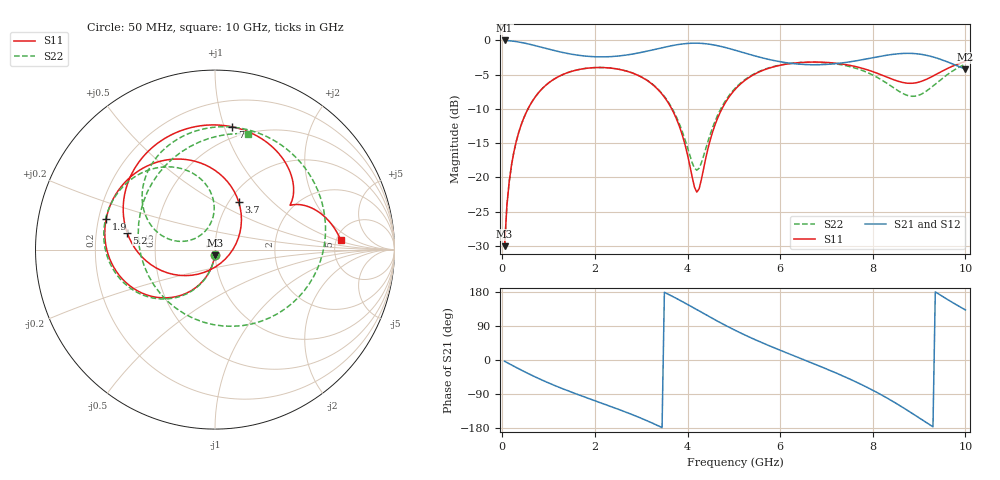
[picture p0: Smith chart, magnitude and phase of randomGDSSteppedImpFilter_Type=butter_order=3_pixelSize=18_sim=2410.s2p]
! freq	dB(S11)	phase(S11)	dB(S12)	phase(S12)
!  dB(S21)	phase(S21)	dB(S22)	phase(S22)
!S-par simulation data
#  GHz  S  DB  R 50
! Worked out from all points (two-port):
!   200 points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, 50 MHz to 10 GHz, reference 50 ohm
!   highest |S21| = -0.01 dB at 50 MHz (marker M1); lowest = -4.2 dB at 10 GHz (marker M2)
!   |S21| within 3 dB of the highest: start of sweep to 5.915 GHz; 7.62 GHz to 9.562 GHz (1.942 GHz wide, 22.6 % of centre)
!   lowest |S11| = -30.1 dB at 50 MHz (marker M3), VSWR 1.06, Z = 49.7 - j3.12 ohm
!   |S11| at or under -10 dB: start of sweep to 555.4 MHz; 3.658 GHz to 4.743 GHz (1.085 GHz wide, 25.8 % of centre)
!   |S22| runs from -30.1 to -3.2 dB; largest |S21 - S12| = 0
!   S11 on the Smith chart (normalised r, x): 50 MHz: 0.99, -0.06; 1.9 GHz: 0.23, +0.13; 3.7 GHz: 1.11, +0.65; 5.2 GHz: 0.34, +0.08; 7 GHz: 0.41, +1.07; 10 GHz: 5.47, +1.15
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0.05  -30.07 -93.5  -0.01 -3.4  -0.01 -3.4  -30.07 -93.5
0.2  -18.17 -103.8  -0.09 -13.2  -0.09 -13.2  -18.17 -103.5
0.5  -10.77 -123.1  -0.42 -32.2  -0.42 -32.2  -10.77 -122.2
1.05  -5.96 -154.6  -1.36 -63.1  -1.36 -63.1  -5.96 -152.7
1.75  -4.14 171.3  -2.26 -96.4  -2.26 -96.4  -4.14 174.9
1.9  -4.02 164.5  -2.35 -103.1  -2.35 -103.1  -4.01 168.5
2.75  -4.62 124.4  -2.07 -141.4  -2.07 -141.4  -4.61 132.8
3.4  -7.46 86.7  -1.15 -175.5  -1.15 -175.5  -7.39 104.3
3.7  -10.55 63.6  -0.72 166.3  -0.72 166.3  -10.35 93.3
4.2  -22.17 -42.8  -0.40 133.0  -0.40 133.0  -18.96 129.4
4.6  -12.23 -144.1  -0.70 105.7  -0.70 105.7  -11.71 167.3
5.05  -6.99 178.9  -1.48 77.0  -1.48 77.0  -6.84 150.8
5.2  -6.05 169.1  -1.77 68.2  -1.77 68.2  -5.93 143.5
6  -3.63 126.0  -3.12 25.7  -3.12 25.7  -3.60 103.9
6.7  -3.16 94.6  -3.56 -8.6  -3.56 -8.6  -3.19 68.0
7  -3.22 81.9  -3.51 -23.6  -3.51 -23.6  -3.28 51.3
7.75  -4.03 52.4  -2.85 -64.4  -2.85 -64.4  -4.33 1.2
8.35  -5.48 34.9  -2.12 -103.3  -2.12 -103.3  -6.47 -57.2
8.75  -6.25 30.7  -1.89 -133.0  -1.89 -133.0  -8.04 -115.2
9.2  -5.55 28.4  -2.24 -168.4  -2.24 -168.4  -7.20 168.6
9.65  -3.99 17.5  -3.24 157.0  -3.24 157.0  -4.80 109.1
10  -3.07 4.4  -4.21 132.1  -4.21 132.1  -3.47 74.1
